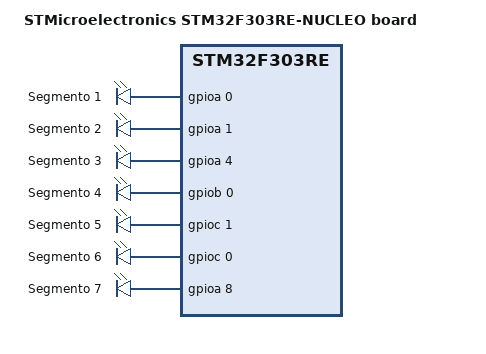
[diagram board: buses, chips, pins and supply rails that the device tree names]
/ {
    model = "STMicroelectronics STM32F303RE-NUCLEO board";
    compatible = "st,stm32f303re-nucleo";

    chosen {
        zephyr,console = &usart2;
        zephyr,shell-uart = &usart2;
        zephyr,sram = &sram0;
        zephyr,flash = &flash0;
        zephyr,canbus = &can1;
    };

    leds: gpio-leds {
        compatible = "gpio-leds";
        
        segment1: segment1 {
            gpios = <&gpioa 0 GPIO_ACTIVE_HIGH>;
            label = "Segmento 1";
        };
        segment2: segment2 {
            gpios = <&gpioa 1 GPIO_ACTIVE_HIGH>;
            label = "Segmento 2";
        };
        segment3: segment3 {
            gpios = <&gpioa 4 GPIO_ACTIVE_HIGH>;
            label = "Segmento 3";
        };
        segment4: segment4 {
            gpios = <&gpiob 0 GPIO_ACTIVE_HIGH>;
            label = "Segmento 4";
        };
        segment5: segment5 {
            gpios = <&gpioc 1 GPIO_ACTIVE_HIGH>;
            label = "Segmento 5";
        };
        segment6: segment6 {
            gpios = <&gpioc 0 GPIO_ACTIVE_HIGH>;
            label = "Segmento 6";
        };
        segment7: segment7 {
            gpios = <&gpioa 8 GPIO_ACTIVE_HIGH>;
            label = "Segmento 7";
        };
    };

    button: button {
        compatible = "gpio-keys";
        gpios = <&gpioa 9 GPIO_ACTIVE_LOW>;
        label = "Botão";
    };

    aliases {
        segment1 = &leds/segment1;
        segment2 = &leds/segment2;
        segment3 = &leds/segment3;
        segment4 = &leds/segment4;
        segment5 = &leds/segment5;
        segment6 = &leds/segment6;
        segment7 = &leds/segment7;
        button = &button,
    };
};
